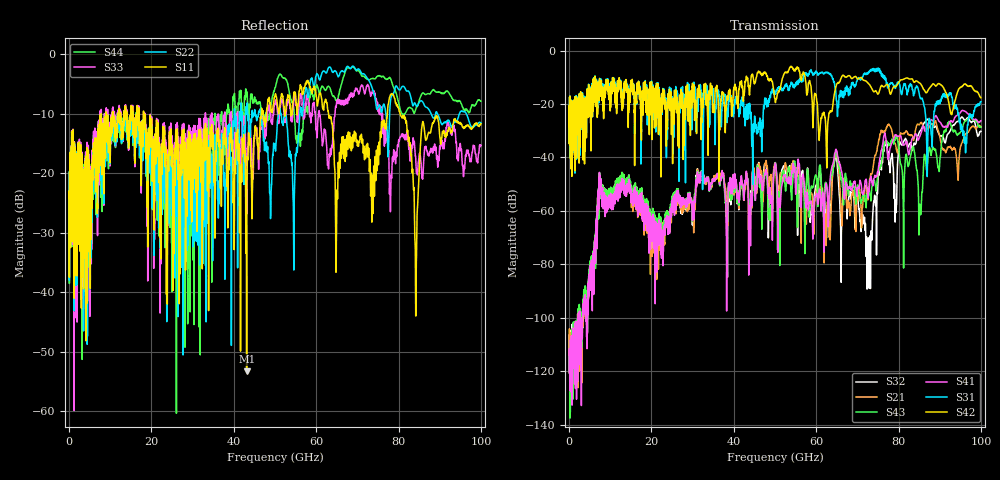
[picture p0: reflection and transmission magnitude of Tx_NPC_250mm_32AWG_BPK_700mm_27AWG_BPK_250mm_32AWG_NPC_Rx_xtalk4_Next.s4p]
! Info: Touchstone file created by Circ.  Input file=Tx_NPC_250mm_32AWG_BPK_700mm_27AWG_BPK_250mm_32AWG_NPC_Rx.circ
# Hz S RI R 50
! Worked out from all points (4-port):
!   10000 points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, 10 MHz to 100 GHz, reference 50 ohm
!   strongest paths, dB at 10 MHz, 25.01 GHz, 50.01 GHz, 75.01 GHz, 100 GHz:
!     S42: -28.4, -18.5, -18.4, -16.3, -17.6
!     S31: -28.3, -17.2, -15.5, -6.8, -19.2
!     S41: -111.7, -56.5, -42.3, -45.6, -26.2
!     S43: -114.8, -54.7, -42.2, -45.2, -28.6
!     S21: -111.4, -57.3, -42.0, -35.4, -28.6
!     S32: -119.6, -55.4, -42.5, -47.5, -30.2
!   lowest |S11| = -53.2 dB at 43.12 GHz (marker M1), VSWR 1.00, Z = 50.2 - j0.158 ohm
!   |S11| at or under -10 dB: 18.17 GHz to 46.67 GHz (28.5 GHz wide, 87.9 % of centre); 63 GHz to 77.29 GHz (14.3 GHz wide, 20.4 % of centre); 80.37 GHz to end of sweep (the widest 3 of 39)
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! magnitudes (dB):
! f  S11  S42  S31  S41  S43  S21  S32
! 10 MHz  -24.2  -28.4  -28.3  -111.7  -114.8  -111.4  -119.6
! 43.12 GHz  -53.2  -10.0  -23.8  -45.9  -46.7  -46.5  -46.4
! 64.71 GHz  -28.1  -14.0  -14.2  -37.2  -38.3  -38.8  -39.7
! 72.77 GHz  -15.9  -12.4  -8.3  -52.4  -52.7  -52.1  -71.0
! 76.75 GHz  -12.1  -13.2  -10.9  -31.3  -34.4  -29.9  -35.3
! 85.33 GHz  -15.2  -12.4  -18.0  -31.5  -61.5  -27.0  -29.9
! 100 GHz  -11.7  -17.6  -19.2  -26.2  -28.6  -28.6  -30.2
